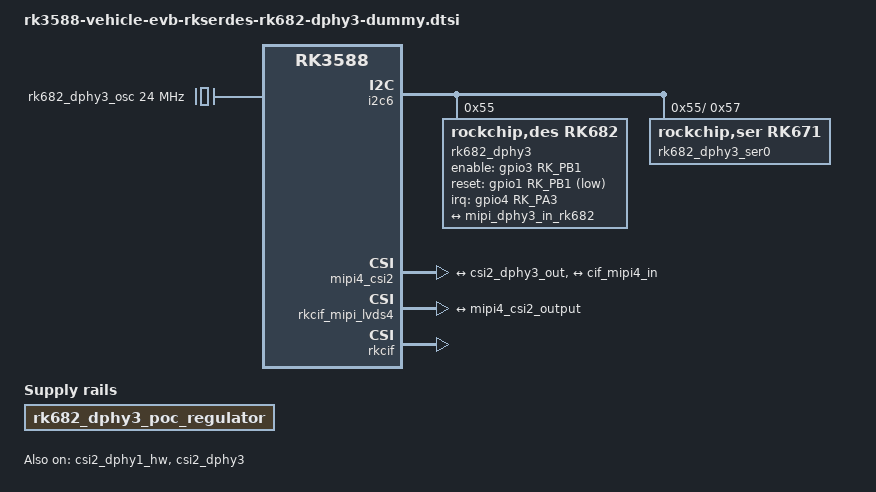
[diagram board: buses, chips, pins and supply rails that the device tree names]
// SPDX-License-Identifier: (GPL-2.0+ OR MIT)
/*
 * Copyright (c) 2024 Rockchip Electronics Co., Ltd.
 *
 */
#include <dt-bindings/display/media-bus-format.h>

/ {
	rk682_dphy3_osc: rk682-dphy3-oscillator {
		compatible = "fixed-clock";
		#clock-cells = <1>;
		clock-frequency = <24000000>;
		clock-output-names = "rk682-dphy3-osc";
	};

	rk682_dphy3_poc_regulator: rk682-dphy3-poc-regulator {
		compatible = "regulator-fixed";
		regulator-name = "rk682_dphy3_poc";
	};
};

&csi2_dphy1_hw {
	status = "okay";
};

&csi2_dphy3 {
	status = "okay";

	ports {
		#address-cells = <1>;
		#size-cells = <0>;
		port@0 {
			reg = <0>;
			#address-cells = <1>;
			#size-cells = <0>;

			mipi_dphy3_in_rk682: endpoint@1 {
				reg = <1>;
				remote-endpoint = <&rk682_dphy3_out>;
				data-lanes = <1 2 3 4>;
			};
		};

		port@1 {
			reg = <1>;
			#address-cells = <1>;
			#size-cells = <0>;

			csi2_dphy3_out: endpoint@0 {
				reg = <0>;
				remote-endpoint = <&mipi4_csi2_input>;
			};
		};
	};
};

&i2c6 {
	status = "okay";
	pinctrl-names = "default";
	pinctrl-0 = <&i2c6m3_xfer>;

	rk682_dphy3: rk682@55 {
		compatible = "rockchip,des,rk682";
		status = "okay";
		reg = <0x55>;
		clock-names = "xvclk";
		clocks = <&rk682_dphy3_osc 0>;
		pinctrl-names = "default";
		pinctrl-0 = <&rk682_dphy3_enable>, <&rk682_dphy3_reset>, <&rk682_dphy3_irq>;
		enable-gpios = <&gpio3 RK_PB1 GPIO_ACTIVE_HIGH>;
		reset-gpios = <&gpio1 RK_PB1 GPIO_ACTIVE_LOW>;
		irq-gpios = <&gpio4 RK_PA3 GPIO_ACTIVE_HIGH>;

		rockchip,camera-module-index = <0>;
		rockchip,camera-module-facing = "back";
		rockchip,camera-module-name = "default";
		rockchip,camera-module-lens-name = "default";
		rockchip,camera-module-sensor-name = "dummy";

		port {
			rk682_dphy3_out: endpoint {
				remote-endpoint = <&mipi_dphy3_in_rk682>;
				data-lanes = <1 2 3 4>;
			};
		};

		/* support mode config start */
		support-mode-config {
			status = "okay";

			bus-format = <MEDIA_BUS_FMT_YUYV8_2X8>;
			sensor-width = <1920>;
			sensor-height = <1280>;
			max-fps-numerator = <10000>;
			max-fps-denominator = <300000>;
			bpp = <16>;
			link-freq-idx = <8>;
		};
		/* support mode config end */

		/* serdes local device start */
		serdes-local-device {
			status = "okay";

			stream-port = <0>; /* port: 0 or 1 */
			stream-interface = <0>; /* interface: 0 = csi, 1 = dvp */
			serdes-dclk-hz = <400000000>; // serdes dclk freq

			/* rklink lane config start */
			link-rate = <1>; /* 4GBPS_83MBPS */
			link-line = <0>; /* 0: common, 1: short, 2: long */
			lane-engine-id = <0>;
			lane-engine-delay = <12288>;
			lane-remote-ser = <&rk682_dphy3_ser0>; // remote serializer
			lane-remote-cam = <&rk682_dphy3_cam0>; // remote camera
			/* rklink lane config end */

			/* txphy config start */
			txphy-clock-mode = <0>; /* 0: continuous, 1: non-continuous */
			/* txphy config end */

			/* csi2tx config start */
			csi2tx-format = <3>; /* default: 3 */
			/* csi2tx config end */

			/* local device extra init sequence */
			extra-init-sequence {
				status = "disabled";

				/*
				 * rk682 register init sequence
				 *   reg_addr: 32bits
				 *     reg_addr = FFFFFFFF: register end
				 *     reg_addr = FFFFFFFE: delay (unit: us)
				 *   reg_val: 32bits
				 *   val_mask: 32bits
				 */
				init-sequence = [
					// common init sequence such as fsync / gpio and so on
				];
			};
		};
		/* serdes local device end */

		/* i2c-mux start */
		i2c-mux {
			#address-cells = <1>;
			#size-cells = <0>;

			i2c@0 {
				#address-cells = <1>;
				#size-cells = <0>;
				reg = <0>;

				// Note: Serializer node defined before camera node
				rk682_dphy3_ser0: rk671@57 {
					compatible = "rockchip,ser,rk671";
					reg = <0x57>;

					stream-interface = <0>; // 0: MIPI, 1: DVP, 2: LVDS
					serdes-dclk-hz = <400000000>; // serdes dclk freq
					camera-mclk-hz = <24000000>; // camera mclk freq
					camera-mclk-id = <0>; // mclk id: 0 or 1

					rxphy-data-lanes = <1 2 3 4>; // rxphy data lane

					vicap-csi {
						csi-vc-id-0 {
							vc-id = <0>; // vc id: 0 ~ 3

							virtual-channel = <0>; // vc: 0 ~ 3
							width = <1920>;
							height = <1280>;
							data-type = <0x1e>; // vicap data type, same as mipi data type
							parse-type = <4>; // vicap parse type: 0 - RAW8, 1 - RAW10, 2 - RAW12, 4 - YUV422
						};
					};

					linktx {
						lane-config-0 {
							lane-id = <0>; // Lane ID: 0/1
							dsource-id = <0>;
						};
					};

					/* serializer init sequence start */
					ser-init-sequence {
						status = "okay";

						/*
						 * rkx11x register init sequence
						 *   reg_addr: 32bits
						 *     reg_addr = FFFFFFFF: register end
						 *     reg_addr = FFFFFFFE: delay (unit: us)
						 *   reg_val: 32bits
						 *   val_mask: 32bits
						 */
						init-sequence = [
							/* camera gpio: reset */
							00010004 00380000 00000000 // iomux: GPIO0_A6
							00040008 00400040 00000000 // output direction: GPIO0_A6
							00040000 00400040 00000000 // FLASH_WP (GPIO0_A6): output 1
							00010004 01C00000 00000000 // iomux: GPIO0_A7
							00040008 00800080 00000000 // output direction: GPIO0_A7
							00040000 00800000 00000000 // RESET (GPIO0_A7): active level = 0: output 0
							FFFFFFFE 000003E8 00000000 // delay: 1000us
							00040000 00800080 00000000 // RESET (GPIO0_A7) deactive level = 1: output 1
							FFFFFFFE 000003E8 00000000 // delay: 1000us
						];
					};
					/* serializer init sequence end */
				};

				rk682_dphy3_cam0: dummy@30 {
					compatible = "rockchip,cam,dummy";
					reg = <0x30>;

					cam-remote-ser = <&rk682_dphy3_ser0>; // remote serializer

					poc-supply = <&rk682_dphy3_poc_regulator>;

					rockchip,camera-module-index = <0>;
					rockchip,camera-module-facing = "back";
					rockchip,camera-module-name = "default";
					rockchip,camera-module-lens-name = "default";

					/* port config start */
					port {
						rk682_dphy3_cam0_out: endpoint {
							data-lanes = <1 2 3 4>;
						};
					};
					/* port config end */
				};
			};
		};
		/* i2c-mux end */
	};
};

&mipi4_csi2 {
	status = "okay";

	ports {
		#address-cells = <1>;
		#size-cells = <0>;

		port@0 {
			reg = <0>;
			#address-cells = <1>;
			#size-cells = <0>;

			mipi4_csi2_input: endpoint@1 {
				reg = <1>;
				remote-endpoint = <&csi2_dphy3_out>;
			};
		};

		port@1 {
			reg = <1>;
			#address-cells = <1>;
			#size-cells = <0>;

			mipi4_csi2_output: endpoint@0 {
				reg = <0>;
				remote-endpoint = <&cif_mipi4_in>;
			};
		};
	};
};

&rkcif_mipi_lvds4 {
	status = "okay";
	/* parameters for do cif reset detecting:
	 * index0: monitor mode,
		   0 for idle,
		   1 for continue,
		   2 for trigger,
		   3 for hotplug (for nextchip)
	 * index1: the frame id to start timer,
		   min is 2
	 * index2: frame num of monitoring cycle
	 * index3: err time for keep monitoring
		   after finding out err (ms)
	 * index4: csi2 err reference val for resetting
	 */
	rockchip,cif-monitor = <3 2 1 1000 5>;

	port {
		cif_mipi4_in: endpoint {
			remote-endpoint = <&mipi4_csi2_output>;
		};
	};
};

&rkcif {
	status = "okay";
	rockchip,android-usb-camerahal-enable;
};

&rkcif_mmu {
	status = "okay";
};

&pinctrl {
	rk682-dphy3 {
		rk682_dphy3_enable: rk682-dphy3-enable {
			rockchip,pins = <3 RK_PB1 RK_FUNC_GPIO &pcfg_pull_none>;
		};

		rk682_dphy3_reset: rk682-dphy3-reset {
			rockchip,pins = <1 RK_PB1 RK_FUNC_GPIO &pcfg_pull_none>;
		};

		rk682_dphy3_irq: rk682-dphy3-irq {
			rockchip,pins = <4 RK_PA3 RK_FUNC_GPIO &pcfg_pull_none>;
		};
	};
};
